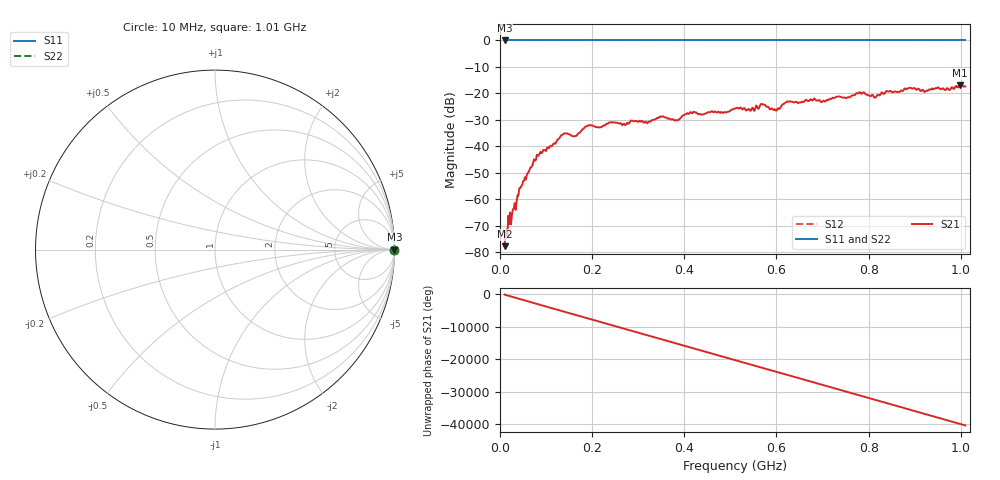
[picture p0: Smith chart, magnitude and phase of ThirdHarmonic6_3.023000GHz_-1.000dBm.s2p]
! 8/17/2025 8:42:24 AM
! C:\ANRITSUVNA\TEMP\TEMP.S2P
! CHANNEL.1
! TR.MEASUREMENT
! RAW.DATA
! RF.CORRECTION.OFF
! AVERAGING.OFF
! IF.BANDWIDTH: 5KHZ
! SWEEPTYPE:  FREQ.SWEEP(Linear)
! Reference Plane Port Info
! PORT:  PORT1  PORT2
! DISTANCE:  0  m  0  m
! TIME:  0  s  0  s
! PHASE.OFFSET:  0  deg.  0  deg.
! LOSS:  0  dB  0  dB
! REF.LOSS:  0  dB  0  dB
! REF.FREQ:  0  Hz  0  Hz
! Power Info
! POWER:  -20  dBm  -20  dBm
! EFF.POWER:  -20  dBm  -20  dBm
! SOURCE.ATTEN:  0  dB  0  dB
! TEST.ATTEN:  0  dB  0  dB
# GHZ S RI R 50.0
! FREQ.GHZ  S11RE  S11IM  S21RE  S21IM  S12RE  S12IM  S22RE  S22IM
!; PortSelection: Port_12
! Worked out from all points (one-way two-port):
!   501 points, 10 MHz to 1.01 GHz, reference 50 ohm
!   highest |S21| = -16.90 dB at 998 MHz (marker M1); lowest = -77.7 dB at 10 MHz (marker M2)
!   lowest |S11| = 0.0 dB at 10 MHz (marker M3)
!   |S11| at or under -10 dB: nowhere
!   |S22| runs from 0.0 to 0.0 dB; largest |S21 - S12| = 1.1
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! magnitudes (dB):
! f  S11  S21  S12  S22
! 10 MHz  0.0  -77.7  0.0  0.0
! 18 MHz  0.0  -66.2  0.0  0.0
! 46 MHz  0.0  -55.1  0.0  0.0
! 78 MHz  0.0  -45.1  0.0  0.0
! 136 MHz  0.0  -35.5  0.0  0.0
! 162 MHz  0.0  -36.2  0.0  0.0
! 178 MHz  0.0  -33.7  0.0  0.0
! 344 MHz  0.0  -29.3  0.0  0.0
! 384 MHz  0.0  -30.1  0.0  0.0
! 416 MHz  0.0  -27.4  0.0  0.0
! 510 MHz  0.0  -25.7  0.0  0.0
! 548 MHz  0.0  -25.4  0.0  0.0
! 570 MHz  0.0  -24.2  0.0  0.0
! 596 MHz  0.0  -25.9  0.0  0.0
! 624 MHz  0.0  -23.1  0.0  0.0
! 678 MHz  0.0  -22.7  0.0  0.0
! 702 MHz  0.0  -22.8  0.0  0.0
! 778 MHz  0.0  -19.9  0.0  0.0
! 814 MHz  0.0  -21.6  0.0  0.0
! 844 MHz  0.0  -19.3  0.0  0.0
! 998 MHz  0.0  -16.9  0.0  0.0
! 1.01 GHz  0.0  -17.4  0.0  0.0
